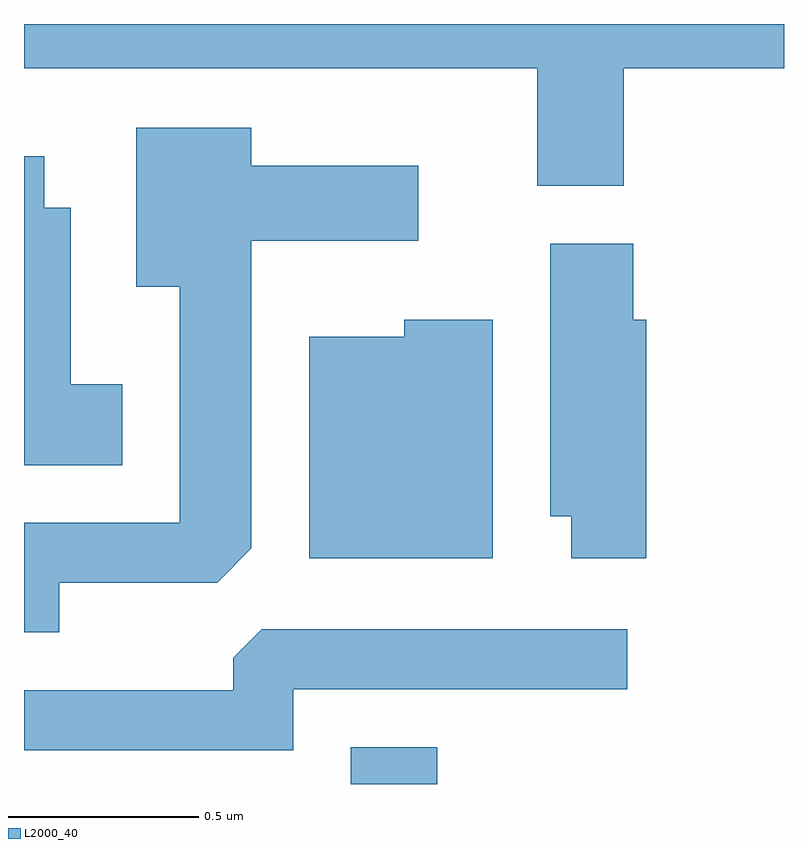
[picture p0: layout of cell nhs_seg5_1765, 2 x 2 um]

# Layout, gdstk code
import gdstk
lib = gdstk.Library(unit=1e-6, precision=1e-09)
def R(c, l, rs):  # rectangles x0, y0, x1, y1
    for r in rs: c.add(gdstk.rectangle(r[:2], r[2:], *l))
def P(c, l, *ps):  # polygons
    for p in ps: c.add(gdstk.Polygon(p, *l))
L2000_40 = (2000, 40)

nhs_seg5_1765 = lib.new_cell('nhs_seg5_1765')
R(nhs_seg5_1765, L2000_40, [(198.471,1517.072,198.699,1517.169)])
P(nhs_seg5_1765, L2000_40, [(199.189,1518.956),(199.611,1518.956),(199.611,1519.072),(197.611,1519.072),(197.611,1518.956),(198.961,1518.956),(198.961,1518.646),(199.189,1518.646)],
  [(197.704,1517.601),(198.119,1517.601),(198.209,1517.692),(198.209,1518.501),(198.649,1518.501),(198.649,1518.699),(198.209,1518.699),(198.209,1518.799),(197.906,1518.799),(197.906,1518.381),(198.021,1518.381),(198.021,1517.759),(197.611,1517.759),(197.611,1517.471),(197.704,1517.471)],
  [(197.869,1518.124),(197.734,1518.124),(197.734,1518.589),(197.664,1518.589),(197.664,1518.724),(197.611,1518.724),(197.611,1517.911),(197.869,1517.911)],
  [(199.249,1518.294),(199.214,1518.294),(199.214,1518.494),(198.996,1518.494),(198.996,1517.776),(199.051,1517.776),(199.051,1517.666),(199.249,1517.666)],
  [(198.844,1518.294),(198.611,1518.294),(198.611,1518.249),(198.361,1518.249),(198.361,1517.666),(198.844,1517.666)],
  [(198.319,1517.321),(199.198,1517.321),(199.198,1517.479),(198.237,1517.479),(198.161,1517.404),(198.161,1517.319),(197.611,1517.319),(197.611,1517.161),(198.319,1517.161)])

lib.write_gds('nhs_seg5_1765.gds')
